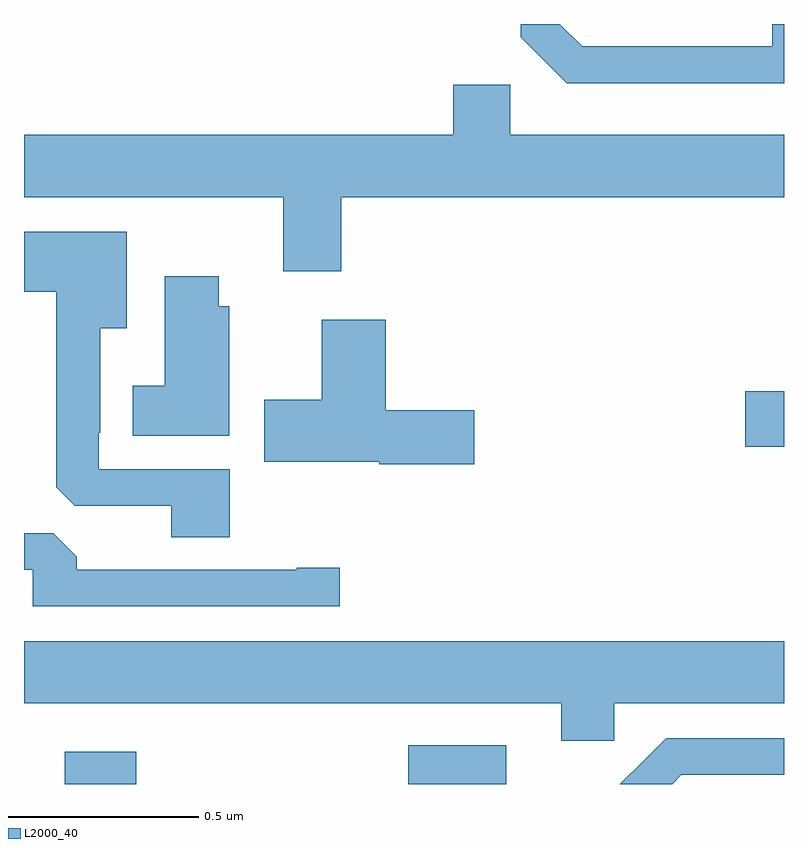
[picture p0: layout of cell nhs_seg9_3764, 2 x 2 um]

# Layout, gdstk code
import gdstk
lib = gdstk.Library(unit=1e-6, precision=1e-09)
def R(c, l, rs):  # rectangles x0, y0, x1, y1
    for r in rs: c.add(gdstk.rectangle(r[:2], r[2:], *l))
def P(c, l, *ps):  # polygons
    for p in ps: c.add(gdstk.Polygon(p, *l))
L2000_40 = (2000, 40)

nhs_seg9_3764 = lib.new_cell('nhs_seg9_3764')
R(nhs_seg9_3764, L2000_40, [(157.107,1237.5,157.295,1237.585), (158.011,1237.5,158.269,1237.602), (158.898,1238.387,159,1238.534)])
P(nhs_seg9_3764, L2000_40, [(159,1239.5),(158.969,1239.5),(158.969,1239.441),(158.469,1239.441),(158.41,1239.5),(158.307,1239.5),(158.307,1239.465),(158.428,1239.344),(159,1239.344)],
  [(157.835,1239.044),(159,1239.044),(159,1239.208),(158.28,1239.208),(158.28,1239.34),(158.129,1239.34),(158.129,1239.208),(157,1239.208),(157,1239.044),(157.682,1239.044),(157.682,1238.85),(157.835,1238.85)],
  [(157.541,1238.328),(157.197,1238.328),(157.197,1238.425),(157.201,1238.425),(157.201,1238.699),(157.27,1238.699),(157.27,1238.953),(157,1238.953),(157,1238.795),(157.085,1238.795),(157.085,1238.281),(157.134,1238.232),(157.388,1238.232),(157.388,1238.149),(157.541,1238.149)],
  [(157.54,1238.757),(157.513,1238.757),(157.513,1238.836),(157.37,1238.836),(157.37,1238.548),(157.286,1238.548),(157.286,1238.417),(157.54,1238.417)],
  [(158.185,1238.483),(157.952,1238.483),(157.952,1238.722),(157.784,1238.722),(157.784,1238.511),(157.632,1238.511),(157.632,1238.348),(157.935,1238.348),(157.935,1238.341),(158.185,1238.341)],
  [(157.831,1238.069),(157.718,1238.069),(157.718,1238.064),(157.139,1238.064),(157.139,1238.098),(157.077,1238.16),(157,1238.16),(157,1238.064),(157.023,1238.064),(157.023,1237.968),(157.831,1237.968)],
  [(158.553,1237.712),(159,1237.712),(159,1237.876),(157,1237.876),(157,1237.712),(158.414,1237.712),(158.414,1237.614),(158.553,1237.614)],
  [(158.73,1237.524),(159,1237.524),(159,1237.62),(158.69,1237.62),(158.599,1237.529),(158.598,1237.53),(158.568,1237.5),(158.706,1237.5)])

lib.write_gds('nhs_seg9_3764.gds')
